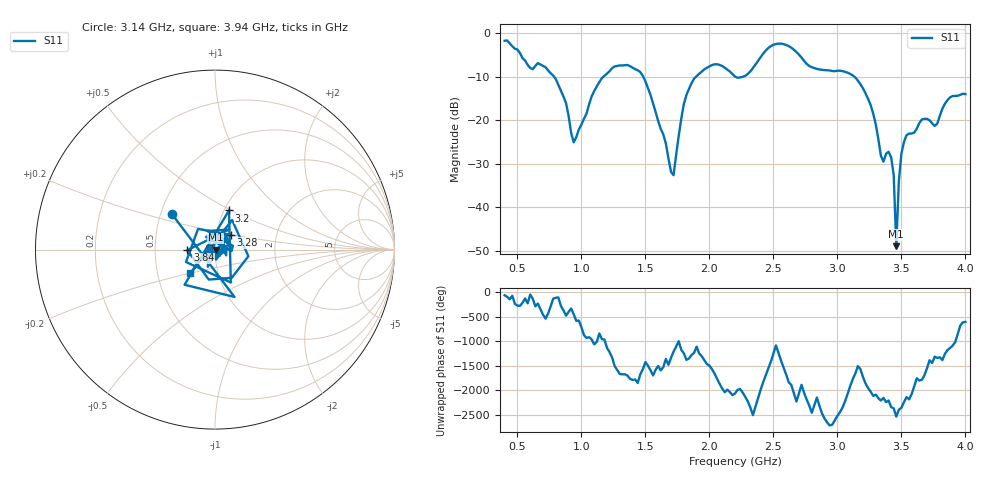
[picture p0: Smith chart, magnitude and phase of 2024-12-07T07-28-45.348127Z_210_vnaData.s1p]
!Created with skrf (http://scikit-rf.org).
# Hz S RI R 50.0
!freq ReS11 ImS11
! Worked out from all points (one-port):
!   181 points, 400 MHz to 4 GHz, reference 50 ohm
!   lowest |S11| = -48.9 dB at 3.46 GHz (marker M1), VSWR 1.01, Z = 50.3 - j0.122 ohm
!   |S11| at or under -10 dB: 786.2 MHz to 1.172 GHz (385.8 MHz wide, 39.4 % of centre); 1.483 GHz to 1.895 GHz (412.7 MHz wide, 24.4 % of centre); 3.133 GHz to end of sweep (the widest 3 of 4)
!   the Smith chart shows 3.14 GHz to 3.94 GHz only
!   S11 on the Smith chart (normalised r, x): 3.14 GHz: 0.57, +0.25; 3.2 GHz: 1.05, +0.49; 3.28 GHz: 1.17, +0.19; 3.84 GHz: 0.73, -0.00; 3.94 GHz: 0.73, -0.20
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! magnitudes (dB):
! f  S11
! 400 MHz  -1.7
! 860 MHz  -14.6
! 940 MHz  -25.1
! 1.14 GHz  -11.2
! 1.3 GHz  -7.4
! 1.48 GHz  -9.8
! 1.72 GHz  -32.6
! 1.76 GHz  -23.6
! 1.88 GHz  -10.5
! 2.04 GHz  -7.2
! 2.2 GHz  -10.0
! 2.5 GHz  -2.7
! 2.66 GHz  -3.8
! 3.1 GHz  -9.4
! 3.14 GHz  -10.2
! 3.2 GHz  -12.7
! 3.28 GHz  -18.5
! 3.34 GHz  -28.2
! 3.42 GHz  -28.5
! 3.44 GHz  -32.6
! 3.46 GHz  -48.9
! 3.48 GHz  -34.1
! 3.5 GHz  -27.7
! 3.56 GHz  -23.1
! 3.76 GHz  -21.3
! 3.84 GHz  -16.2
! 3.94 GHz  -14.4
! 4 GHz  -14.0
